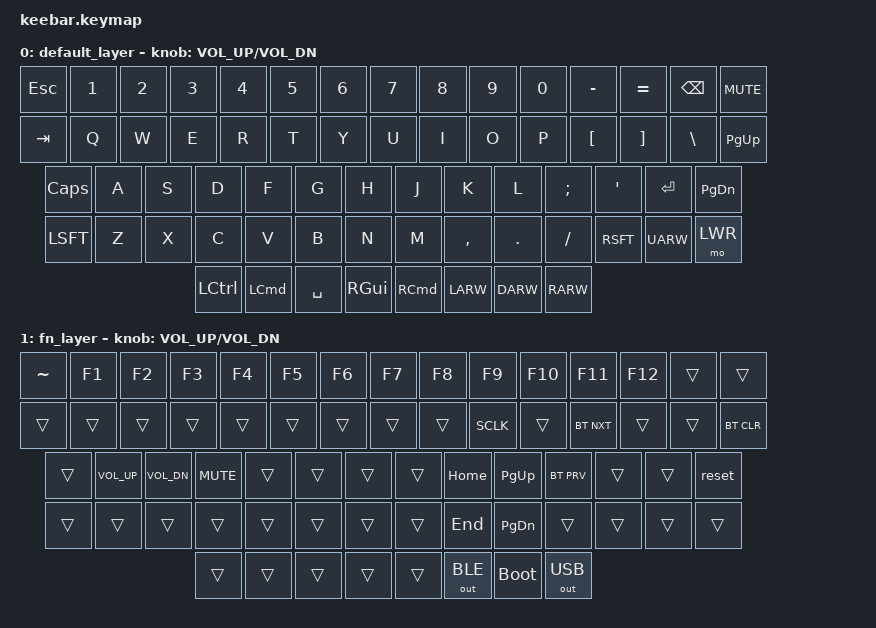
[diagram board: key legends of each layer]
/*
 * Copyright (c) 2020 The ZMK Contributors
 *
 * SPDX-License-Identifier: MIT
 */

#include <behaviors.dtsi>
#include <dt-bindings/zmk/keys.h>
#include <dt-bindings/zmk/bt.h>
#include <dt-bindings/zmk/outputs.h>

#define DEF 0
#define LWR 1

/ {
        keymap {
                compatible = "zmk,keymap";

                default_layer {
// -------------------------------------------------------------------------------------------------------------------------------------
// |  ESC  |   1   |   2   |   3   |   4   |   5   |   6   |   7   |   8   |   9   |   0   |   -   |   =   |      BKSP     |           |
// |-----------------------------------------------------------------------------------------------------------------------------------|
// |    TAB    |   Q   |   W   |   E   |   R   |   T   |   Y   |   U   |   I   |   O   |   P   |   [   |   ]   |     \     |   |  PGU  |
// |-----------------------------------------------------------------------------------------------------------------------------------|
// |     CAPS    |   A   |   S   |   D   |   F   |   G   |   H   |   J   |   K   |   L   |   ;   |   '   |      ENTER      |   |  PGD  |
// |-----------------------------------------------------------------------------------------------------------------------------------|
// |      SHIFT      |   Z   |   X   |   C   |   V   |   B   |   N   |   M   |   ,   |   .   |   /   |    SHIFT    | |  UP   | |  FN   |
// |-----------------------------------------------------------------------------------------------------------------------------------|
// |           | CTRL  |   COMM    |                     SPACE                       |    COMM   |  ALT  |   |  LFT  |  DWN  |  RHT  | |
// -------------------------------------------------------------------------------------------------------------------------------------

                        bindings = <
&kp ESC  &kp NUM_1  &kp NUM_2  &kp NUM_3  &kp NUM_4  &kp NUM_5  &kp NUM_6  &kp NUM_7  &kp NUM_8  &kp NUM_9  &kp NUM_0  &kp MINUS  &kp EQL  &kp BKSP &kp K_MUTE
&kp TAB       &kp Q  &kp W  &kp E  &kp R  &kp T  &kp Y  &kp U  &kp I  &kp O  &kp P  &kp LBKT  &kp RBKT  &kp BSLH             &kp PG_UP
&kp CLCK        &kp A  &kp S  &kp D  &kp F  &kp G  &kp H  &kp J  &kp K  &kp L  &kp SCLN  &kp QUOT  &kp RET                   &kp PG_DN
&kp LSFT          &kp Z  &kp X  &kp C  &kp V  &kp B  &kp N  &kp M  &kp CMMA  &kp DOT  &kp FSLH  &kp RSFT        &kp UARW     &mo LWR
&kp LCTL     &kp LCMD                          &kp SPC                          &kp RGUI    &kp RCMD  &kp LARW  &kp DARW  &kp RARW
                        >;
			sensor-bindings = <&inc_dec_kp C_VOL_UP C_VOL_DN>;
                };

		fn_layer {
// -------------------------------------------------------------------------------------------------------------------------------------
// |  ESC  |  F1   |  F2   |  F3   |  F4   |  F5   |  F6   |  F7   |  F8   |  F9   |  F10  |  F11  |  F12  |      BKSP     |           |
// |-----------------------------------------------------------------------------------------------------------------------------------|
// |    TAB    |       |       |       |       |       |       |       |       | SCRLK |       |       |       |           |   |  PGU  |
// |-----------------------------------------------------------------------------------------------------------------------------------|
// |     CAPS    | VOLUP | VOLDN | MUTE  |       |       |       |       |  HM   |  PGU  |       |       |      ENTER      |   |  PGD  |
// |-----------------------------------------------------------------------------------------------------------------------------------|
// |      SHIFT      |       |       |       |       |       |       |       |  END  |  PGD  |       |    SHIFT    | |  UP   | |  FN   |
// |-----------------------------------------------------------------------------------------------------------------------------------|
// |           | CTRL  |   COMM    |                     SPACE                       |    COMM   |  ALT  |   |  LFT  |  DWN  |  RHT  | |
// -------------------------------------------------------------------------------------------------------------------------------------
                        bindings = <
&kp TILDE  &kp F1  &kp F2  &kp F3  &kp F4  &kp F5  &kp F6  &kp F7  &kp F8  &kp F9  &kp F10  &kp F11  &kp F12  &trans &trans
&trans       &trans &trans  &trans  &trans  &trans  &trans  &trans  &trans  &kp SCLK  &trans  &bt BT_NXT  &trans  &trans                        &bt BT_CLR
&trans        &kp C_VOL_UP  &kp C_VOL_DN  &kp K_MUTE  &trans  &trans  &trans  &trans  &kp HOME  &kp PG_UP  &bt BT_PRV  &trans  &trans         &reset
&trans          &trans  &trans  &trans  &trans  &trans  &trans  &trans  &kp END  &kp PG_DN  &trans  &trans                    &trans        &trans
&trans     &trans                            &trans                           &trans      &trans                      &out OUT_BLE  &bootloader  &out OUT_USB
                        >;
			sensor-bindings = <&inc_dec_kp C_VOL_UP C_VOL_DN>;

		};
        };
};
